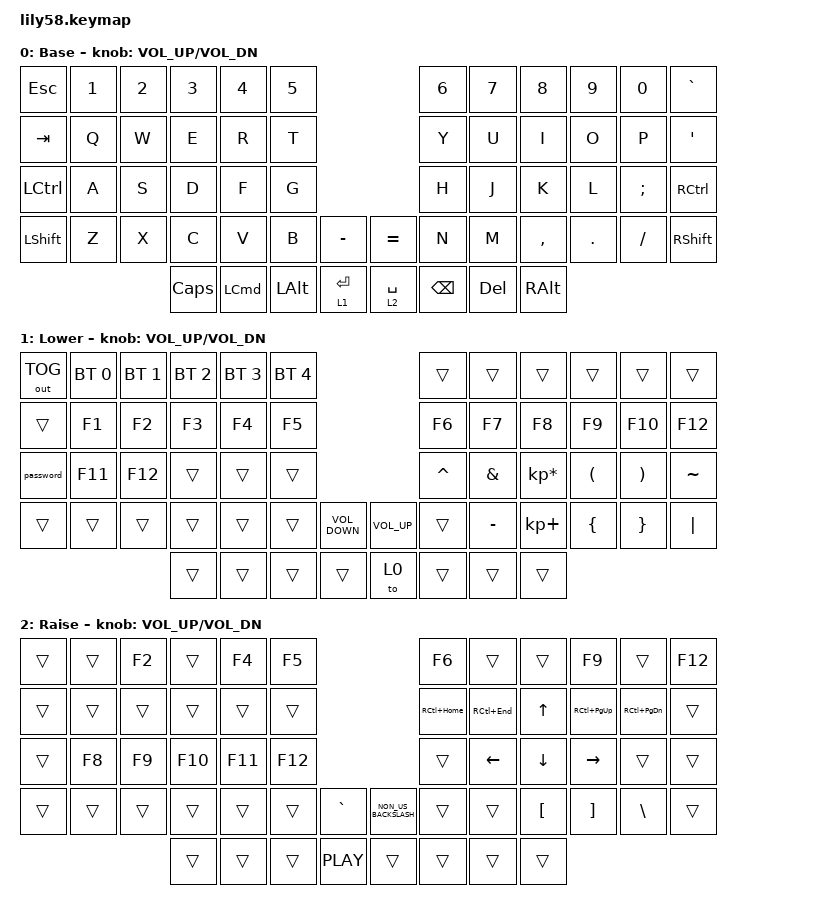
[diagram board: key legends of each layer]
/*
 * Copyright (c) 2020 The ZMK Contributors
 *
 * SPDX-License-Identifier: MIT
 */

#include <behaviors.dtsi>
#include <dt-bindings/zmk/bt.h>
#include <dt-bindings/zmk/keys.h>
#include <dt-bindings/zmk/outputs.h>

/ {
    macros {
        password: password {
            compatible = "zmk,behavior-macro";
            #binding-cells = <0>;
            bindings = <&kp LS(F) &kp I &kp R &kp E &kp B &kp A &kp L &kp L &kp DOT &kp N1 &kp N5 &kp N6 &kp N0 &kp EXCL>;
            label = "PASSWORD";
        };
    };

    behaviors {
        tap_hold: tap_hold {
            compatible = "zmk,behavior-hold-tap";
            label = "TAP_HOLD";
            bindings = <&kp>, <&kp>;

            #binding-cells = <2>;
            tapping-term-ms = <300>;
            flavor = "tap-preferred";
        };

        space: space {
            compatible = "zmk,behavior-hold-tap";
            label = "SPACE";
            bindings = <&mo>, <&kp>;

            #binding-cells = <2>;
            flavor = "balanced";
            tapping-term-ms = <300>;
        };

        light_tap_hold: light_tap_hold {
            compatible = "zmk,behavior-hold-tap";
            label = "LIGHT_TAP_HOLD";
            bindings = <&kp>, <&kp>;

            #binding-cells = <2>;
            tapping-term-ms = <250>;
            flavor = "tap-preferred";
            require-prior-idle-ms = <125>;
        };
    };

    keymap {
        compatible = "zmk,keymap";

        default_layer {
            // ------------------------------------------------------------------------------------------------------------
            // |  ESC  |  1  |  2  |  3   |  4   |  5   |                   |  6   |  7    |  8    |  9   |   0   |   `   |
            // |  TAB  |  Q  |  W  |  E   |  R   |  T   |                   |  Y   |  U    |  I    |  O   |   P   |   -   |
            // |  CTRL |  A  |  S  |  D   |  F   |  G   |                   |  H   |  J    |  K    |  L   |   ;   |   '   |
            // | SHIFT |  Z  |  X  |  C   |  V   |  B   |   "["  |  |  "]"  |  N   |  M    |  ,    |  .   |   /   | SHIFT |
            //                     | ALT  | GUI  | LOWER|  SPACE |  | ENTER | RAISE| BSPC  | GUI   |

            display-name = "Base";
            bindings = <
&kp ESCAPE        &kp N1  &kp N2  &kp N3        &kp N4            &kp N5                                          &kp N6         &kp N7      &kp N8         &kp N9   &kp N0    &kp GRAVE
&kp TAB           &kp Q   &kp W   &kp E         &kp R             &kp T                                           &kp Y          &kp U       &kp I          &kp O    &kp P     &kp SQT
&kp LEFT_CONTROL  &kp A   &kp S   &kp D         &kp F             &kp G                                           &kp H          &kp J       &kp K          &kp L    &kp SEMI  &kp RIGHT_CONTROL
&kp LEFT_SHIFT    &kp Z   &kp X   &kp C         &kp V             &kp B         &kp MINUS         &kp EQUAL       &kp N          &kp M       &kp COMMA      &kp DOT  &kp FSLH  &kp RIGHT_SHIFT
                                  &kp CAPSLOCK  &kp LEFT_COMMAND  &kp LEFT_ALT  &space 1 ENTER    &space 2 SPACE  &kp BACKSPACE  &kp DELETE  &kp RIGHT_ALT
            >;

            sensor-bindings = <&inc_dec_kp C_VOL_UP C_VOL_DN>;
        };

        lower_layer {
            // ------------------------------------------------------------------------------------------------------------
            // | BTCLR | BT1 | BT2 |  BT3 |  BT4 |  BT5 |                   |      |       |       |      |       |       |
            // |  F1   |  F2 |  F3 |  F4  |  F5  |  F6  |                   |  F7  |  F8   |  F9   |  F10 |  F11  |  F12  |
            // |   `   |  !  |  @  |  #   |  $   |  %   |                   |  ^   |  &    |  *    |  (   |   )   |   ~   |
            // |       |     |     |      |      |      |        |  |       |      |  _    |  +    |  {   |   }   |  "|"  |
            //                     |      |      |      |        |  |       |      |       |       |

            display-name = "Lower";
            bindings = <
&out OUT_TOG  &bt BT_SEL 0  &bt BT_SEL 1  &bt BT_SEL 2  &bt BT_SEL 3  &bt BT_SEL 4                                        &trans     &trans     &trans           &trans    &trans    &trans
&trans        &kp F1        &kp F2        &kp F3        &kp F4        &kp F5                                              &kp F6     &kp F7     &kp F8           &kp F9    &kp F10   &kp F12
&password     &kp F11       &kp F12       &trans        &trans        &trans                                              &kp CARET  &kp AMPS   &kp KP_MULTIPLY  &kp LPAR  &kp RPAR  &kp TILDE
&trans        &trans        &trans        &trans        &trans        &trans        &kp C_VOLUME_DOWN    &kp C_VOLUME_UP  &trans     &kp MINUS  &kp KP_PLUS      &kp LBRC  &kp RBRC  &kp PIPE
                                          &trans        &trans        &trans        &trans               &to 0            &trans     &trans     &trans
            >;

            sensor-bindings = <&inc_dec_kp C_VOL_UP C_VOL_DN>;
        };

        raise_layer {
            // ------------------------------------------------------------------------------------------------------------
            // |       |     |     |      |      |      |                   |      |       |       |      |       |       |
            // |   `   |  1  |  2  |  3   |  4   |  5   |                   |  6   |   7   |   8   |  9   |   0   |       |
            // |   F1  |  F2 |  F3 |  F4  |  F5  |  F6  |                   |      |   <-  |   v   |  ^   |  ->   |       |
            // |   F7  |  F8 |  F9 |  F10 |  F11 |  F12 |        |  |       |  +   |   -   |   =   |  [   |   ]   |   \   |
            //                     |      |      |      |        |  |       |      |       |       |

            display-name = "Raise";
            bindings = <
&trans  &trans  &kp F2  &trans   &kp F4   &kp F5                                       &kp F6        &trans       &trans            &kp F9             &trans             &kp F12
&trans  &trans  &trans  &trans   &trans   &trans                                       &kp RC(HOME)  &kp RC(END)  &kp UP_ARROW      &kp RC(PAGE_UP)    &kp RC(PAGE_DOWN)  &trans
&trans  &kp F8  &kp F9  &kp F10  &kp F11  &kp F12                                      &trans        &kp LEFT     &kp DOWN          &kp RIGHT          &trans             &trans
&trans  &trans  &trans  &trans   &trans   &trans   &kp GRAVE     &kp NON_US_BACKSLASH  &trans        &trans       &kp LEFT_BRACKET  &kp RIGHT_BRACKET  &kp BACKSLASH      &trans
                        &trans   &trans   &trans   &kp C_PLAY    &trans                &trans        &trans       &trans
            >;

            sensor-bindings = <&inc_dec_kp C_VOL_UP C_VOL_DN>;
        };
    };

    conditional_layers { compatible = "zmk,conditional-layers"; };
};
